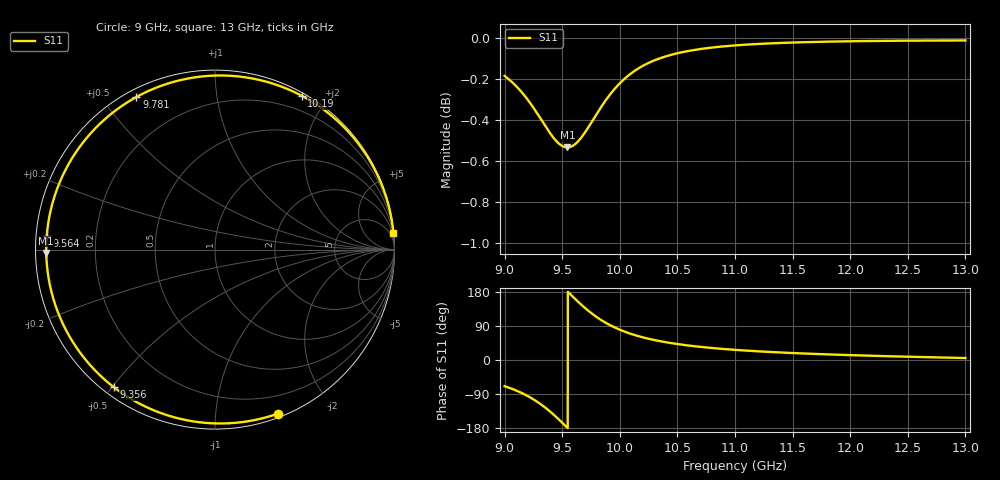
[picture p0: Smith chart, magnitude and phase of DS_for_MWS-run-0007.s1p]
! TOUCHSTONE file generated by CST DESIGN STUDIO
! Date and time: Tue Feb  4 13:36:40 2025
! Project name: C:\Work\MatlabApps\UnitCellOptimizationMatlab\CST\unitcell.cst
! Tree item: Tasks\Sweep1\SPara1\S-Parameters
! Header version: 2024
! Port assignment regex: !\s*Touchstone port\s*([0-9]+)\s*=\s*(CST MWS port|CST DES external port|CST DES block port)\s*(.+)\s* \(\"(.*)\"\)(\s*mode\s*([0-9]+))?.*
! Touchstone port assignment:
! Touchstone port 1 = CST DES external port 1 ("")
# GHz S MA R 50
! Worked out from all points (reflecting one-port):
!   4001 points, 9 GHz to 13 GHz, reference 50 ohm
!   lowest |S11| = -0.5 dB at 9.545 GHz (marker M1), VSWR 32.55, Z = 1.54 - j0.496 ohm
!   phase of S11 starts at -69 deg and turns -286 deg over the sweep
!   S11 on the Smith chart (normalised r, x): 9 GHz: 0.03, -1.45; 9.356 GHz: 0.03, -0.50; 9.564 GHz: 0.03, +0.04; 9.781 GHz: 0.03, +0.61; 10.19 GHz: 0.03, +1.71; 13 GHz: 0, +22
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9  0.9788 -69.1
9.101  0.9732 -80.5
9.211  0.965 -96.8
9.287  0.9581 -111.0
9.356  0.9515 -126.4
9.425  0.9454 -144.1
9.464  0.9428 -155.0
9.5  0.9412 -165.4
9.545  0.9404 -178.9
9.564  0.9405 175.4
9.618  0.9424 159.4
9.679  0.9467 142.3
9.73  0.9513 129.1
9.781  0.9564 117.2
9.828  0.9609 107.4
9.878  0.9655 98.1
9.934  0.9701 89.1
10  0.9747 79.9
10.091  0.9798 69.5
10.19  0.984 60.6
10.332  0.9881 50.7
10.5  0.9913 42.1
10.721  0.9938 34.0
11  0.9956 26.8
11.5  0.9972 18.4
12  0.998 12.8
12.5  0.9983 8.7
13  0.9984 5.2
